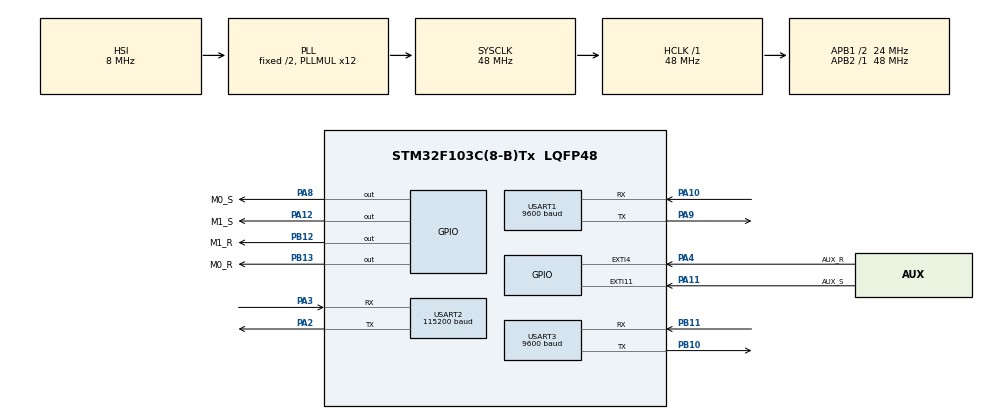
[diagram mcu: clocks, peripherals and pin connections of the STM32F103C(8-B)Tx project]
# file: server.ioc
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Dma.Request0=USART1_RX
Dma.Request1=USART3_TX
Dma.Request2=USART2_RX
Dma.Request3=USART2_TX
Dma.USART1_RX.0.Direction=DMA_PERIPH_TO_MEMORY
Dma.USART1_RX.0.Instance=DMA1_Channel5
Dma.USART1_RX.0.MemDataAlignment=DMA_MDATAALIGN_BYTE
Dma.USART1_RX.0.MemInc=DMA_MINC_ENABLE
Dma.USART1_RX.0.Mode=DMA_NORMAL
Dma.USART1_RX.0.PeriphDataAlignment=DMA_PDATAALIGN_BYTE
Dma.USART1_RX.0.PeriphInc=DMA_PINC_DISABLE
Dma.USART1_RX.0.Priority=DMA_PRIORITY_LOW
Dma.USART2_RX.2.Direction=DMA_PERIPH_TO_MEMORY
Dma.USART2_RX.2.Instance=DMA1_Channel6
Dma.USART2_RX.2.MemDataAlignment=DMA_MDATAALIGN_BYTE
Dma.USART2_RX.2.MemInc=DMA_MINC_ENABLE
Dma.USART2_RX.2.Mode=DMA_NORMAL
Dma.USART2_RX.2.PeriphDataAlignment=DMA_PDATAALIGN_BYTE
Dma.USART2_RX.2.PeriphInc=DMA_PINC_DISABLE
Dma.USART2_RX.2.Priority=DMA_PRIORITY_LOW
Dma.USART2_TX.3.Direction=DMA_MEMORY_TO_PERIPH
Dma.USART2_TX.3.Instance=DMA1_Channel7
Dma.USART2_TX.3.MemDataAlignment=DMA_MDATAALIGN_BYTE
Dma.USART2_TX.3.MemInc=DMA_MINC_ENABLE
Dma.USART2_TX.3.Mode=DMA_NORMAL
Dma.USART2_TX.3.PeriphDataAlignment=DMA_PDATAALIGN_BYTE
Dma.USART2_TX.3.PeriphInc=DMA_PINC_DISABLE
Dma.USART2_TX.3.Priority=DMA_PRIORITY_LOW
Dma.USART3_TX.1.Direction=DMA_MEMORY_TO_PERIPH
Dma.USART3_TX.1.Instance=DMA1_Channel2
Dma.USART3_TX.1.MemDataAlignment=DMA_MDATAALIGN_BYTE
Dma.USART3_TX.1.MemInc=DMA_MINC_ENABLE
Dma.USART3_TX.1.Mode=DMA_NORMAL
Dma.USART3_TX.1.PeriphDataAlignment=DMA_PDATAALIGN_BYTE
Dma.USART3_TX.1.PeriphInc=DMA_PINC_DISABLE
Dma.USART3_TX.1.Priority=DMA_PRIORITY_LOW
IWDG.Prescaler=IWDG_PRESCALER_64
IWDG.Reload=2500
Mcu.Family=STM32F1
Mcu.Name=STM32F103C(8-B)Tx
Mcu.Package=LQFP48
NVIC.DMA1_Channel2_IRQn=true\:0\:0\:false\:false\:true\:false
NVIC.DMA1_Channel5_IRQn=true\:0\:0\:false\:false\:true\:false
NVIC.DMA1_Channel6_IRQn=true\:0\:0\:false\:false\:true\:false
NVIC.DMA1_Channel7_IRQn=true\:0\:0\:false\:false\:true\:false
NVIC.EXTI15_10_IRQn=true\:0\:0\:false\:false\:true\:true
NVIC.EXTI4_IRQn=true\:0\:0\:false\:false\:true\:true
NVIC.FLASH_IRQn=true\:0\:0\:false\:false\:true\:true
NVIC.PriorityGroup=NVIC_PRIORITYGROUP_4
NVIC.RTC_IRQn=true\:0\:0\:false\:false\:true\:true
NVIC.TIM4_IRQn=true\:0\:0\:false\:false\:true\:true
NVIC.USART1_IRQn=true\:0\:0\:false\:false\:true\:true
NVIC.USART2_IRQn=true\:0\:0\:false\:false\:true\:true
NVIC.USART3_IRQn=true\:0\:0\:false\:false\:true\:true
PA10.Mode=Asynchronous
PA10.Signal=USART1_RX
PA11.GPIO_Label=AUX_S
PA11.GPIO_ModeDefaultEXTI=GPIO_MODE_IT_RISING_FALLING
PA11.GPIO_PuPd=GPIO_PULLUP
PA11.Signal=GPXTI11
PA12.GPIO_Label=M1_S
PA12.Signal=GPIO_Output
PA13.Mode=Serial_Wire
PA13.Signal=SYS_JTMS-SWDIO
PA14.Mode=Serial_Wire
PA14.Signal=SYS_JTCK-SWCLK
PA2.Mode=Asynchronous
PA2.Signal=USART2_TX
PA3.Mode=Asynchronous
PA3.Signal=USART2_RX
PA4.GPIO_Label=AUX_R
PA4.GPIO_ModeDefaultEXTI=GPIO_MODE_IT_RISING_FALLING
PA4.GPIO_PuPd=GPIO_PULLUP
PA4.Signal=GPXTI4
PA8.GPIO_Label=M0_S
PA8.Signal=GPIO_Output
PA9.Mode=Asynchronous
PA9.Signal=USART1_TX
PB10.Mode=Asynchronous
PB10.Signal=USART3_TX
PB11.Mode=Asynchronous
PB11.Signal=USART3_RX
PB12.GPIO_Label=M1_R
PB12.Signal=GPIO_Output
PB13.GPIO_Label=M0_R
PB13.Signal=GPIO_Output
ProjectManager.HeapSize=0x1000
ProjectManager.StackSize=0x400
ProjectManager.TargetToolchain=EWARM V7
RCC.AHBFreq_Value=48000000
RCC.APB1CLKDivider=RCC_HCLK_DIV2
RCC.APB1Freq_Value=24000000
RCC.APB1TimFreq_Value=48000000
RCC.APB2Freq_Value=48000000
RCC.APB2TimFreq_Value=48000000
RCC.HCLKFreq_Value=48000000
RCC.PLLMUL=RCC_PLL_MUL12
RCC.SYSCLKFreq_VALUE=48000000
RCC.SYSCLKSource=RCC_SYSCLKSOURCE_PLLCLK
RCC.USBFreq_Value=48000000
TIM4.AutoReloadPreload=TIM_AUTORELOAD_PRELOAD_ENABLE
TIM4.Period=10
TIM4.Prescaler=48000
USART1.BaudRate=9600
USART1.VirtualMode=VM_ASYNC
USART2.BaudRate=115200
USART2.VirtualMode=VM_ASYNC
USART3.BaudRate=9600
USART3.VirtualMode=VM_ASYNC
VP_IWDG_VS_IWDG.Mode=IWDG_Activate
VP_RTC_VS_RTC_Activate.Mode=RTC_Enabled
VP_RTC_VS_RTC_Calendar.Mode=RTC_Calendar
VP_TIM4_VS_ClockSourceINT.Mode=Internal
board=custom

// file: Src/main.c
/**
  ******************************************************************************
  * @file           : main.c
  * @brief          : Main program body
  ******************************************************************************
  ** This notice applies to any and all portions of this file
  * that are not between comment pairs USER CODE BEGIN and
  * USER CODE END. Other portions of this file, whether
  * inserted by the user or by software development tools
  * are owned by their respective copyright owners.
  *
  * COPYRIGHT(c) 2019 STMicroelectronics
  *
  * Redistribution and use in source and binary forms, with or without modification,
  * are permitted provided that the following conditions are met:
  *   1. Redistributions of source code must retain the above copyright notice,
  *      this list of conditions and the following disclaimer.
  *   2. Redistributions in binary form must reproduce the above copyright notice,
  *      this list of conditions and the following disclaimer in the documentation
  *      and/or other materials provided with the distribution.
  *   3. Neither the name of STMicroelectronics nor the names of its contributors
  *      may be used to endorse or promote products derived from this software
  *      without specific prior written permission.
  *
  * THIS SOFTWARE IS PROVIDED BY THE COPYRIGHT HOLDERS AND CONTRIBUTORS "AS IS"
  * AND ANY EXPRESS OR IMPLIED WARRANTIES, INCLUDING, BUT NOT LIMITED TO, THE
  * IMPLIED WARRANTIES OF MERCHANTABILITY AND FITNESS FOR A PARTICULAR PURPOSE ARE
  * DISCLAIMED. IN NO EVENT SHALL THE COPYRIGHT HOLDER OR CONTRIBUTORS BE LIABLE
  * FOR ANY DIRECT, INDIRECT, INCIDENTAL, SPECIAL, EXEMPLARY, OR CONSEQUENTIAL
  * DAMAGES (INCLUDING, BUT NOT LIMITED TO, PROCUREMENT OF SUBSTITUTE GOODS OR
  * SERVICES; LOSS OF USE, DATA, OR PROFITS; OR BUSINESS INTERRUPTION) HOWEVER
  * CAUSED AND ON ANY THEORY OF LIABILITY, WHETHER IN CONTRACT, STRICT LIABILITY,
  * OR TORT (INCLUDING NEGLIGENCE OR OTHERWISE) ARISING IN ANY WAY OUT OF THE USE
  * OF THIS SOFTWARE, EVEN IF ADVISED OF THE POSSIBILITY OF SUCH DAMAGE.
  *
  ******************************************************************************
  */
#include "main.h"
#include "stm32f1xx_hal.h"

/* USER CODE BEGIN Includes */
#include "Lora.h"
#include "maincontrol.h"
#include "flash_if.h"
#include "rtc.h"
#include "reboot.h"
#include "user_config.h"
#include "string.h"
#include "crc16.h"

/* USER CODE END Includes */

IWDG_HandleTypeDef hiwdg;

RTC_HandleTypeDef hrtc;

TIM_HandleTypeDef htim4;

UART_HandleTypeDef huart1;
UART_HandleTypeDef huart2;
UART_HandleTypeDef huart3;
DMA_HandleTypeDef hdma_usart1_rx;
DMA_HandleTypeDef hdma_usart2_rx;
DMA_HandleTypeDef hdma_usart2_tx;
DMA_HandleTypeDef hdma_usart3_tx;

/* USER CODE BEGIN PV */
/* Private variables ---------------------------------------------------------*/

/* USER CODE END PV */

void SystemClock_Config(void);
static void MX_GPIO_Init(void);
static void MX_DMA_Init(void);
static void MX_USART1_UART_Init(void);
static void MX_USART2_UART_Init(void);
static void MX_USART3_UART_Init(void);
static void MX_RTC_Init(void);
static void MX_TIM4_Init(void);
static void MX_IWDG_Init(void);

/* USER CODE BEGIN PFP */
/* Private function prototypes -----------------------------------------------*/

/* USER CODE END PFP */

/* USER CODE BEGIN 0 */
void strtohex(uint16_t *dst, uint32_t *src, uint8_t srclen)
{
  uint8_t i, j;
  uint8_t dat;

  for(i=0; i < srclen; i++) {
    for ( j = 0; j < 4; j++) {

      //src是32为地址指针，+1对应一个32位类型，指向下一个数组元素的位置
      dat = (uint8_t)((*(src + i)) >> (j*8));

      if ((dat >= 'a') && (dat <= 'z')) {
        dat -= ('a' - 0x0a);
      } else if ((dat >= '0') && (dat <= '9')) {
        dat -= '0';
      } else if ((dat >= 'A') && (dat <= 'Z')) {
        dat -= ('A' - 0x0a);
      }

      *dst <<= 4;
      *dst |= dat;
    }
  }
}

/* USER CODE END 0 */

int main(void)
{
  /* USER CODE BEGIN 1 */
  uint16_t serverID;
  uint8_t send_channel, recv_channel;

  FLASH_If_Init();

  /* USER CODE END 1 */

  /* MCU Configuration----------------------------------------------------------*/

  /* Reset of all peripherals, Initializes the Flash interface and the Systick. */
  HAL_Init();

  /* Configure the system clock */
  SystemClock_Config();

  /* Initialize all configured peripherals */
  MX_GPIO_Init();
  MX_DMA_Init();
  MX_USART1_UART_Init();
  MX_USART2_UART_Init();
  MX_USART3_UART_Init();
  MX_RTC_Init();
  MX_TIM4_Init();
  MX_IWDG_Init();
  /* USER CODE BEGIN 2 */
  //设备链表初始化
  ListInit();

  //初始化service，channel
  uint32_t dat = 0;
  uint16_t channel = 0;
  dat = READ_FLASH_WORD(FLASH_SAVE_SECTION);
  if (SAVE_MESSAGE_HEAD == dat) {
    dat = READ_FLASH_WORD(FLASH_SAVE_SECTION + 4);
    strtohex(&serverID, &dat, 1);
    dat = READ_FLASH_WORD(FLASH_SAVE_SECTION + 12);
    strtohex(&channel, &dat, 1);

    send_channel = (uint8_t)(channel >> 8);
    recv_channel = (uint8_t)channel;

  } else {
    return -1;
  }

  //与f405通信串口初始化
  UARTF405_Init(&huart2);
  //lora模块gpio引脚设置
  LoraModuleGPIOInit(&huart3);
  LoraModuleGPIOInit(&huart1);
  //lora模块参数配置
  //send
  LoraPar lp;
  lp.u16Addr = 0xfffe;
  lp.u8Baud = BAUD_115200;
  lp.u8Channel = send_channel;
  lp.u8FEC = FEC_ENABLE;
  lp.u8IOMode = IOMODE_PP;
  lp.u8Parity = PARITY_8O1;
  lp.u8SendDB = SEND_20DB;
  lp.u8Speedinair = SPEED_IN_AIR_19_2K;
  lp.u8TranferMode = TRANSFER_MODE_DINGDIAN;
  lp.u8WakeUpTime = WAKEUP_TIME_750MS;
  SetLoraParamter( &huart3, &lp);
  ReadLoraParamter( &huart3 );

  //recv
  lp.u16Addr = serverID;
  lp.u8Baud = BAUD_115200;
  lp.u8Channel = recv_channel;
  lp.u8FEC = FEC_ENABLE;
  lp.u8IOMode = IOMODE_PP;
  lp.u8Parity = PARITY_8O1;
  lp.u8SendDB = SEND_20DB;
  lp.u8Speedinair = SPEED_IN_AIR_19_2K;
  lp.u8TranferMode = TRANSFER_MODE_DINGDIAN;
  lp.u8WakeUpTime = WAKEUP_TIME_500MS;
  SetLoraParamter( &huart1, &lp);
  ReadLoraParamter( &huart1 );

  //lora模块的dma配置，并使能中断
  LoraModuleDMAInit( &huart3 );
  LoraModuleDMAInit( &huart1 );
  /* USER CODE END 2 */

  /* Infinite loop */
  /* USER CODE BEGIN WHILE */
  DEBUG_INFO("start while\r\n");

  //使能定时器4
  HAL_TIM_Base_Start_IT(&htim4);

  T_BootConfig stBootConfig;
  memcpy(&stBootConfig, (char *)BOOT_CONFIG_ADDR, sizeof(T_BootConfig));

  if(0 == stBootConfig.ucBootSeccessFlg)
  {
    stBootConfig.ucBootSeccessFlg = 1;
    stBootConfig.ucTryTimes = 0;
    stBootConfig.ucBootType = 0;

    T_Resp_Info stReqRec;
    if(0 == strcmp((char *)stBootConfig.ucFWVer, (char *)stBootConfig.ucNewFWVer))
    {
      stReqRec.resp_code = 134;

    }
    else
    {
      stReqRec.resp_code = 133;
      strcpy((char *)stBootConfig.ucFWVer, (char *)stBootConfig.ucNewFWVer);
    }

    memcpy((char *)stReqRec.resp_data.version, CURRENT_FIRMWARE_VERSION, VERSION_LEN);
    stReqRec.crc = crc8_chk_value((uint8_t *)&stReqRec, 5);

    while((&huart2)->gState != HAL_UART_STATE_READY);
    HAL_UART_Transmit_DMA(&huart2, (uint8_t *)&stReqRec, sizeof(T_Resp_Info));

    memset(stBootConfig.ucNewFWVer, 0, VERSION_LEN);

    HAL_IWDG_Refresh(&hiwdg);
    FLASH_If_Erase_Config();

    HAL_IWDG_Refresh(&hiwdg);
    FLASH_If_Write(BOOT_CONFIG_ADDR, (uint32_t*)(&stBootConfig), sizeof(T_BootConfig));

  }

  while (1)
  {

  /* USER CODE END WHILE */

  /* USER CODE BEGIN 3 */
    RTCTask();
    LoraModuleTask();
    F405Task();
    ListTask();
    //FlashTask();
    ReBootTask();
  }
  /* USER CODE END 3 */

}

void SystemClock_Config(void)
{

  RCC_OscInitTypeDef RCC_OscInitStruct;
  RCC_ClkInitTypeDef RCC_ClkInitStruct;
  RCC_PeriphCLKInitTypeDef PeriphClkInit;

    /**Initializes the CPU, AHB and APB busses clocks
    */
  RCC_OscInitStruct.OscillatorType = RCC_OSCILLATORTYPE_HSI|RCC_OSCILLATORTYPE_LSI;
  RCC_OscInitStruct.HSIState = RCC_HSI_ON;
  RCC_OscInitStruct.HSICalibrationValue = 16;
  RCC_OscInitStruct.LSIState = RCC_LSI_ON;
  RCC_OscInitStruct.PLL.PLLState = RCC_PLL_ON;
  RCC_OscInitStruct.PLL.PLLSource = RCC_PLLSOURCE_HSI_DIV2;
  RCC_OscInitStruct.PLL.PLLMUL = RCC_PLL_MUL12;
  if (HAL_RCC_OscConfig(&RCC_OscInitStruct) != HAL_OK)
  {
    _Error_Handler(__FILE__, __LINE__);
  }

    /**Initializes the CPU, AHB and APB busses clocks
    */
  RCC_ClkInitStruct.ClockType = RCC_CLOCKTYPE_HCLK|RCC_CLOCKTYPE_SYSCLK
                              |RCC_CLOCKTYPE_PCLK1|RCC_CLOCKTYPE_PCLK2;
  RCC_ClkInitStruct.SYSCLKSource = RCC_SYSCLKSOURCE_PLLCLK;
  RCC_ClkInitStruct.AHBCLKDivider = RCC_SYSCLK_DIV1;
  RCC_ClkInitStruct.APB1CLKDivider = RCC_HCLK_DIV2;
  RCC_ClkInitStruct.APB2CLKDivider = RCC_HCLK_DIV1;

  if (HAL_RCC_ClockConfig(&RCC_ClkInitStruct, FLASH_LATENCY_1) != HAL_OK)
  {
    _Error_Handler(__FILE__, __LINE__);
  }

  PeriphClkInit.PeriphClockSelection = RCC_PERIPHCLK_RTC;
  PeriphClkInit.RTCClockSelection = RCC_RTCCLKSOURCE_LSI;
  if (HAL_RCCEx_PeriphCLKConfig(&PeriphClkInit) != HAL_OK)
  {
    _Error_Handler(__FILE__, __LINE__);
  }

    /**Configure the Systick interrupt time
    */
  HAL_SYSTICK_Config(HAL_RCC_GetHCLKFreq()/1000);

    /**Configure the Systick
    */
  HAL_SYSTICK_CLKSourceConfig(SYSTICK_CLKSOURCE_HCLK);

  /* SysTick_IRQn interrupt configuration */
  HAL_NVIC_SetPriority(SysTick_IRQn, 0, 0);
}

/* IWDG init function */
static void MX_IWDG_Init(void)
{

  hiwdg.Instance = IWDG;
  hiwdg.Init.Prescaler = IWDG_PRESCALER_64;
  hiwdg.Init.Reload = 2500;
  if (HAL_IWDG_Init(&hiwdg) != HAL_OK)
  {
    _Error_Handler(__FILE__, __LINE__);
  }

}

/* RTC init function */
static void MX_RTC_Init(void)
{

  RTC_TimeTypeDef sTime;
  RTC_DateTypeDef DateToUpdate;

    /**Initialize RTC Only
    */
  hrtc.Instance = RTC;
  hrtc.Init.AsynchPrediv = RTC_AUTO_1_SECOND;
  hrtc.Init.OutPut = RTC_OUTPUTSOURCE_ALARM;
  if (HAL_RTC_Init(&hrtc) != HAL_OK)
  {
    _Error_Handler(__FILE__, __LINE__);
  }

    /**Initialize RTC and set the Time and Date
    */
  sTime.Hours = 0x0;
  sTime.Minutes = 0x0;
  sTime.Seconds = 0x0;

  if (HAL_RTC_SetTime(&hrtc, &sTime, RTC_FORMAT_BCD) != HAL_OK)
  {
    _Error_Handler(__FILE__, __LINE__);
  }

  DateToUpdate.WeekDay = RTC_WEEKDAY_MONDAY;
  DateToUpdate.Month = RTC_MONTH_JANUARY;
  DateToUpdate.Date = 0x1;
  DateToUpdate.Year = 0x0;

  if (HAL_RTC_SetDate(&hrtc, &DateToUpdate, RTC_FORMAT_BCD) != HAL_OK)
  {
    _Error_Handler(__FILE__, __LINE__);
  }

}

/* TIM4 init function */
static void MX_TIM4_Init(void)
{

  TIM_ClockConfigTypeDef sClockSourceConfig;
  TIM_MasterConfigTypeDef sMasterConfig;

  htim4.Instance = TIM4;
  htim4.Init.Prescaler = 48000;
  htim4.Init.CounterMode = TIM_COUNTERMODE_UP;
  htim4.Init.Period = 10;
  htim4.Init.ClockDivision = TIM_CLOCKDIVISION_DIV1;
  htim4.Init.AutoReloadPreload = TIM_AUTORELOAD_PRELOAD_ENABLE;
  if (HAL_TIM_Base_Init(&htim4) != HAL_OK)
  {
    _Error_Handler(__FILE__, __LINE__);
  }

  sClockSourceConfig.ClockSource = TIM_CLOCKSOURCE_INTERNAL;
  if (HAL_TIM_ConfigClockSource(&htim4, &sClockSourceConfig) != HAL_OK)
  {
    _Error_Handler(__FILE__, __LINE__);
  }

  sMasterConfig.MasterOutputTrigger = TIM_TRGO_RESET;
  sMasterConfig.MasterSlaveMode = TIM_MASTERSLAVEMODE_DISABLE;
  if (HAL_TIMEx_MasterConfigSynchronization(&htim4, &sMasterConfig) != HAL_OK)
  {
    _Error_Handler(__FILE__, __LINE__);
  }

}

/* USART1 init function */
static void MX_USART1_UART_Init(void)
{

  huart1.Instance = USART1;
  huart1.Init.BaudRate = 9600;
  huart1.Init.WordLength = UART_WORDLENGTH_8B;
  huart1.Init.StopBits = UART_STOPBITS_1;
  huart1.Init.Parity = UART_PARITY_NONE;
  huart1.Init.Mode = UART_MODE_TX_RX;
  huart1.Init.HwFlowCtl = UART_HWCONTROL_NONE;
  huart1.Init.OverSampling = UART_OVERSAMPLING_16;
  if (HAL_UART_Init(&huart1) != HAL_OK)
  {
    _Error_Handler(__FILE__, __LINE__);
  }

}

/* USART2 init function */
static void MX_USART2_UART_Init(void)
{

  huart2.Instance = USART2;
  huart2.Init.BaudRate = 115200;
  huart2.Init.WordLength = UART_WORDLENGTH_8B;
  huart2.Init.StopBits = UART_STOPBITS_1;
  huart2.Init.Parity = UART_PARITY_NONE;
  huart2.Init.Mode = UART_MODE_TX_RX;
  huart2.Init.HwFlowCtl = UART_HWCONTROL_NONE;
  huart2.Init.OverSampling = UART_OVERSAMPLING_16;
  if (HAL_UART_Init(&huart2) != HAL_OK)
  {
    _Error_Handler(__FILE__, __LINE__);
  }

}

/* USART3 init function */
static void MX_USART3_UART_Init(void)
{

  huart3.Instance = USART3;
  huart3.Init.BaudRate = 9600;
  huart3.Init.WordLength = UART_WORDLENGTH_8B;
  huart3.Init.StopBits = UART_STOPBITS_1;
  huart3.Init.Parity = UART_PARITY_NONE;
  huart3.Init.Mode = UART_MODE_TX_RX;
  huart3.Init.HwFlowCtl = UART_HWCONTROL_NONE;
  huart3.Init.OverSampling = UART_OVERSAMPLING_16;
  if (HAL_UART_Init(&huart3) != HAL_OK)
  {
    _Error_Handler(__FILE__, __LINE__);
  }

}

static void MX_DMA_Init(void)
{
  /* DMA controller clock enable */
  __HAL_RCC_DMA1_CLK_ENABLE();

  /* DMA interrupt init */
  /* DMA1_Channel2_IRQn interrupt configuration */
  HAL_NVIC_SetPriority(DMA1_Channel2_IRQn, 0, 0);
  HAL_NVIC_EnableIRQ(DMA1_Channel2_IRQn);
  /* DMA1_Channel5_IRQn interrupt configuration */
  HAL_NVIC_SetPriority(DMA1_Channel5_IRQn, 0, 0);
  HAL_NVIC_EnableIRQ(DMA1_Channel5_IRQn);
  /* DMA1_Channel6_IRQn interrupt configuration */
  HAL_NVIC_SetPriority(DMA1_Channel6_IRQn, 0, 0);
  HAL_NVIC_EnableIRQ(DMA1_Channel6_IRQn);
  /* DMA1_Channel7_IRQn interrupt configuration */
  HAL_NVIC_SetPriority(DMA1_Channel7_IRQn, 0, 0);
  HAL_NVIC_EnableIRQ(DMA1_Channel7_IRQn);

}

/** Configure pins as
        * Analog
        * Input
        * Output
        * EVENT_OUT
        * EXTI
*/
static void MX_GPIO_Init(void)
{

  GPIO_InitTypeDef GPIO_InitStruct;

  /* GPIO Ports Clock Enable */
  __HAL_RCC_GPIOA_CLK_ENABLE();
  __HAL_RCC_GPIOB_CLK_ENABLE();

  /*Configure GPIO pin Output Level */
  HAL_GPIO_WritePin(GPIOB, M1_R_Pin|M0_R_Pin, GPIO_PIN_RESET);

  /*Configure GPIO pin Output Level */
  HAL_GPIO_WritePin(GPIOA, M0_S_Pin|M1_S_Pin, GPIO_PIN_RESET);

  /*Configure GPIO pins : AUX_R_Pin AUX_S_Pin */
  GPIO_InitStruct.Pin = AUX_R_Pin|AUX_S_Pin;
  GPIO_InitStruct.Mode = GPIO_MODE_IT_RISING_FALLING;
  GPIO_InitStruct.Pull = GPIO_PULLUP;
  HAL_GPIO_Init(GPIOA, &GPIO_InitStruct);

  /*Configure GPIO pins : M1_R_Pin M0_R_Pin */
  GPIO_InitStruct.Pin = M1_R_Pin|M0_R_Pin;
  GPIO_InitStruct.Mode = GPIO_MODE_OUTPUT_PP;
  GPIO_InitStruct.Pull = GPIO_NOPULL;
  GPIO_InitStruct.Speed = GPIO_SPEED_FREQ_LOW;
  HAL_GPIO_Init(GPIOB, &GPIO_InitStruct);

  /*Configure GPIO pins : M0_S_Pin M1_S_Pin */
  GPIO_InitStruct.Pin = M0_S_Pin|M1_S_Pin;
  GPIO_InitStruct.Mode = GPIO_MODE_OUTPUT_PP;
  GPIO_InitStruct.Pull = GPIO_NOPULL;
  GPIO_InitStruct.Speed = GPIO_SPEED_FREQ_LOW;
  HAL_GPIO_Init(GPIOA, &GPIO_InitStruct);

  /* EXTI interrupt init*/
  HAL_NVIC_SetPriority(EXTI4_IRQn, 0, 0);
  HAL_NVIC_EnableIRQ(EXTI4_IRQn);

  HAL_NVIC_SetPriority(EXTI15_10_IRQn, 0, 0);
  HAL_NVIC_EnableIRQ(EXTI15_10_IRQn);

}

void _Error_Handler(char *file, int line)
{
  while(1)
  {
  }
}

/************************ (C) COPYRIGHT STMicroelectronics *****END OF FILE****/
